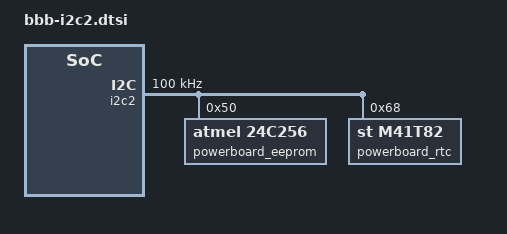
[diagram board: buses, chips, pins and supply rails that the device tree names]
/*
 * Copyright (C) 2020 Jumpnow Technologies, LLC - http://jumpnowtek.com
 *
 * This program is free software; you can redistribute it and/or modify
 * it under the terms of the GNU General Public License version 2 as
 * published by the Free Software Foundation.
 */

&am33xx_pinmux {
	i2c2_pins: i2c2_pins {
		pinctrl-single,pins = <
			AM33XX_IOPAD(0x978, SLEWCTRL_SLOW | PIN_INPUT_PULLUP | MUX_MODE3)  /* P9.20, i2c2_sda */
			AM33XX_IOPAD(0x97c, SLEWCTRL_SLOW | PIN_INPUT_PULLUP | MUX_MODE3)  /* P9.19, i2c2_scl */
		>;
	};
};

&i2c2 {
	status = "okay";
	pinctrl-names = "default";
	pinctrl-0 = <&i2c2_pins>;
	clock-frequency = <100000>;

	powerboard_eeprom: powerboard_eeprom@50 {
		compatible = "atmel,24c256";
		reg = <0x50>;
		#address-cells = <1>;
		#size-cells = <1>;
		powerboard_data: powerboard_data@0 {
			reg = <0 0x100>;
		};
	};

	powerboard_rtc: powerboard_rtc@68 {
		compatible = "st,m41t82";
		reg = <0x68>;
	};
};

